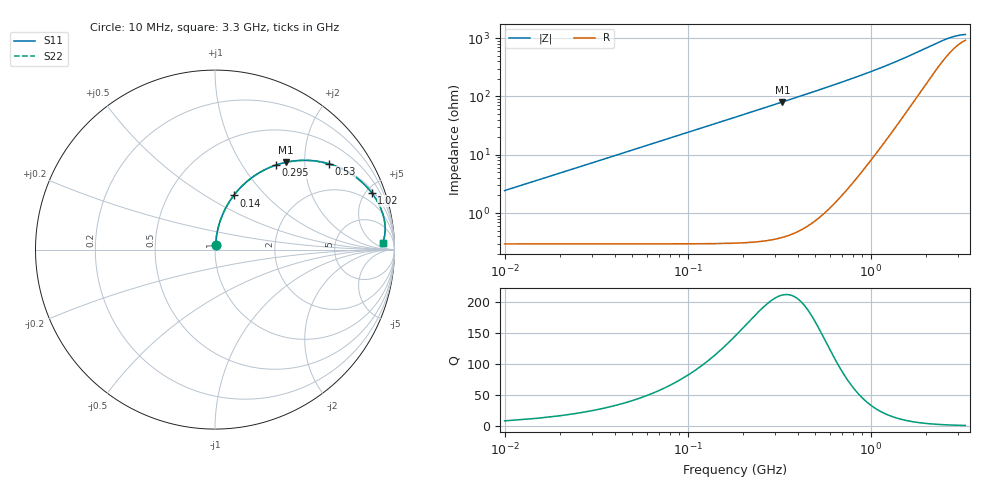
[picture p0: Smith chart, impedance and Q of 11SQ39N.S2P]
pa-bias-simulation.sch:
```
<Qucs Schematic 0.0.19>
<Properties>
  <View=-64,-76,2446,1506,0.711483,0,169>
  <Grid=10,10,1>
  <DataSet=pa-bias-simulation.dat>
  <DataDisplay=pa-bias-simulation.dpl>
  <OpenDisplay=1>
  <Script=pa-bias-simulation.m>
  <RunScript=0>
  <showFrame=0>
  <FrameText0=Title>
  <FrameText1=Drawn By:>
  <FrameText2=Date:>
  <FrameText3=Revision:>
</Properties>
<Symbol>
</Symbol>
<Components>
  <C C1 1 960 670 -26 -55 0 2 "12 pF" 1 "" 0 "neutral" 0>
  <C C4 1 1040 720 17 -26 0 1 "1.2 pF" 1 "" 0 "neutral" 0>
  <GND * 1 770 510 0 0 0 0>
  <GND * 1 1020 510 0 0 0 0>
  <Pac P3 1 1020 450 18 -26 0 1 "3" 1 "50 Ohm" 1 "0 dBm" 0 "1 GHz" 0 "26.85" 0>
  <C C9 1 890 450 17 -26 0 1 "100 uF" 1 "" 0 "neutral" 0>
  <GND * 1 890 590 0 0 0 0>
  <GND * 1 1040 870 0 0 0 0>
  <R R4 1 1040 810 15 -26 0 1 "5.5" 1 "26.85" 0 "0.0" 0 "0.0" 0 "26.85" 0 "US" 0>
  <C C2 1 690 720 17 -26 0 1 "2.2 pF" 1 "" 0 "neutral" 0>
  <C C3 1 800 720 17 -26 0 1 "1.8 pF" 1 "" 0 "neutral" 0>
  <GND * 1 690 870 0 0 0 0>
  <GND * 1 800 870 0 0 0 0>
  <R R2 1 690 810 15 -26 0 1 "3" 1 "26.85" 0 "0.0" 0 "0.0" 0 "26.85" 0 "US" 0>
  <R R3 1 800 810 15 -26 0 1 "3.7" 1 "26.85" 0 "0.0" 0 "0.0" 0 "26.85" 0 "US" 0>
  <R R9 1 870 670 -35 -48 0 0 "0.6" 1 "26.85" 0 "0.0" 0 "0.0" 0 "26.85" 0 "US" 0>
  <R R1 1 890 530 15 -26 0 1 "10 Ohm" 1 "26.85" 0 "0.0" 0 "0.0" 0 "26.85" 0 "US" 0>
  <R R11 1 960 400 -35 -48 0 0 "1000" 1 "26.85" 0 "0.0" 0 "0.0" 0 "26.85" 0 "US" 0>
  <GND * 1 1190 870 0 0 0 0>
  <Pac P2 1 1190 750 18 -26 0 1 "2" 1 "50 Ohm" 1 "0 dBm" 0 "1 GHz" 0 "26.85" 0>
  <SPfile L_11SQ39N 1 770 400 -40 -41 0 0 "/home/joao/pa-bias-simulation/11SQ39N.S2P" 0 "polar" 0 "linear" 0 "open" 0 "2" 0>
  <VCVS SRC3 1 350 700 -26 34 0 0 "1" 1 "0" 0>
  <R R16 1 440 670 -35 -48 0 0 "2.6" 1 "26.85" 0 "0.0" 0 "0.0" 0 "26.85" 0 "US" 0>
  <C C12 1 520 670 -26 -55 0 2 "26.5p" 1 "" 0 "neutral" 0>
  <GND * 1 410 870 0 0 0 0>
  <GND * 1 290 870 0 0 0 0>
  <GND * 1 110 870 0 0 0 0>
  <Pac P1 1 110 780 18 -26 0 1 "1" 1 "50" 1 "0 dBm" 0 "1 GHz" 0 "26.85" 0>
  <R R17 1 210 780 15 -26 0 1 "50" 1 "26.85" 0 "0.0" 0 "0.0" 0 "26.85" 0 "US" 0>
  <GND * 1 210 870 0 0 0 0>
  <C C5 1 920 1000 -26 -55 0 2 "12 pF" 1 "" 0 "neutral" 0>
  <C C8 1 1000 1050 17 -26 0 1 "1.2 pF" 1 "" 0 "neutral" 0>
  <GND * 1 1000 1200 0 0 0 0>
  <R R8 1 1000 1150 15 -26 0 1 "5.5" 1 "26.85" 0 "0.0" 0 "0.0" 0 "26.85" 0 "US" 0>
  <C C6 1 650 1050 17 -26 0 1 "2.2 pF" 1 "" 0 "neutral" 0>
  <C C7 1 760 1050 17 -2 0 1 "1.8 pF" 1 "" 0 "neutral" 0>
  <GND * 1 650 1200 0 0 0 0>
  <GND * 1 760 1200 0 0 0 0>
  <R R6 1 650 1140 15 -26 0 1 "3" 1 "26.85" 0 "0.0" 0 "0.0" 0 "26.85" 0 "US" 0>
  <R R7 1 760 1140 15 -26 0 1 "3.7" 1 "26.85" 0 "0.0" 0 "0.0" 0 "26.85" 0 "US" 0>
  <R R10 1 830 1000 -6 11 0 0 "0.6" 1 "26.85" 0 "0.0" 0 "0.0" 0 "26.85" 0 "US" 0>
  <GND * 1 1150 1200 0 0 0 0>
  <Pac P5 1 1150 1100 18 -26 0 1 "5" 1 "50 Ohm" 1 "0 dBm" 0 "1 GHz" 0 "26.85" 0>
  <VCVS SRC4 1 410 1030 -26 34 0 0 "1" 1 "0" 0>
  <R R18 1 500 1000 -35 -48 0 0 "2.6" 1 "26.85" 0 "0.0" 0 "0.0" 0 "26.85" 0 "US" 0>
  <C C13 1 580 1000 -26 -55 0 2 "26.5p" 1 "" 0 "neutral" 0>
  <GND * 1 470 1200 0 0 0 0>
  <GND * 1 350 1200 0 0 0 0>
  <GND * 1 170 1200 0 0 0 0>
  <R R19 1 270 1110 15 -26 0 1 "50" 1 "26.85" 0 "0.0" 0 "0.0" 0 "26.85" 0 "US" 0>
  <GND * 1 270 1200 0 0 0 0>
  <Pac P6 1 170 1110 18 -26 0 1 "4" 1 "50" 1 "0 dBm" 0 "1 GHz" 0 "26.85" 0>
  <.SP SP1 1 1450 590 0 66 0 0 "lin" 1 "1 MHz" 1 "10 GHz" 1 "5000" 1 "no" 0 "1" 0 "2" 0 "no" 0 "no" 0>
  <Eqn Gains 1 1740 620 -30 16 0 0 "Gain_S21db=20*log10(abs(S[2,1]))" 1 "Gain_S31db=20*log10(abs(S[3,1]))" 1 "Gain_S54db=20*log10(abs(S[5,4]))" 1 "yes" 0>
</Components>
<Wires>
  <990 670 1040 670 "" 0 0 0 "">
  <1040 670 1040 690 "" 0 0 0 "">
  <610 400 610 670 "" 0 0 0 "">
  <610 400 740 400 "" 0 0 0 "">
  <770 430 770 510 "" 0 0 0 "">
  <1020 480 1020 510 "" 0 0 0 "">
  <800 400 890 400 "" 0 0 0 "">
  <890 400 890 420 "" 0 0 0 "">
  <890 480 890 500 "" 0 0 0 "">
  <890 560 890 590 "" 0 0 0 "">
  <1040 750 1040 780 "" 0 0 0 "">
  <1040 840 1040 870 "" 0 0 0 "">
  <610 670 690 670 "" 0 0 0 "">
  <690 670 690 690 "" 0 0 0 "">
  <690 670 800 670 "" 0 0 0 "">
  <800 670 840 670 "" 0 0 0 "">
  <800 670 800 690 "" 0 0 0 "">
  <800 750 800 780 "" 0 0 0 "">
  <690 750 690 780 "" 0 0 0 "">
  <690 840 690 870 "" 0 0 0 "">
  <800 840 800 870 "" 0 0 0 "">
  <900 670 930 670 "" 0 0 0 "">
  <1020 400 1020 420 "" 0 0 0 "">
  <990 400 1020 400 "" 0 0 0 "">
  <890 400 930 400 "" 0 0 0 "">
  <1190 780 1190 870 "" 0 0 0 "">
  <1040 670 1190 670 "" 0 0 0 "">
  <1190 670 1190 720 "" 0 0 0 "">
  <380 670 410 670 "" 0 0 0 "">
  <470 670 490 670 "" 0 0 0 "">
  <380 730 410 730 "" 0 0 0 "">
  <410 730 410 870 "" 0 0 0 "">
  <290 730 320 730 "" 0 0 0 "">
  <290 730 290 870 "" 0 0 0 "">
  <550 670 610 670 "" 0 0 0 "">
  <110 810 110 870 "" 0 0 0 "">
  <110 670 110 750 "" 0 0 0 "">
  <110 670 210 670 "" 0 0 0 "">
  <210 670 320 670 "" 0 0 0 "">
  <210 670 210 750 "" 0 0 0 "">
  <210 810 210 870 "" 0 0 0 "">
  <950 1000 1000 1000 "" 0 0 0 "">
  <1000 1000 1000 1020 "" 0 0 0 "">
  <1000 1080 1000 1120 "" 0 0 0 "">
  <1000 1180 1000 1200 "" 0 0 0 "">
  <650 1000 650 1020 "" 0 0 0 "">
  <650 1000 760 1000 "" 0 0 0 "">
  <760 1000 800 1000 "" 0 0 0 "">
  <760 1000 760 1020 "" 0 0 0 "">
  <760 1080 760 1110 "" 0 0 0 "">
  <650 1080 650 1110 "" 0 0 0 "">
  <650 1170 650 1200 "" 0 0 0 "">
  <760 1170 760 1200 "" 0 0 0 "">
  <860 1000 890 1000 "" 0 0 0 "">
  <1150 1130 1150 1200 "" 0 0 0 "">
  <1000 1000 1150 1000 "" 0 0 0 "">
  <1150 1000 1150 1070 "" 0 0 0 "">
  <440 1000 470 1000 "" 0 0 0 "">
  <530 1000 550 1000 "" 0 0 0 "">
  <440 1060 470 1060 "" 0 0 0 "">
  <470 1060 470 1200 "" 0 0 0 "">
  <350 1060 380 1060 "" 0 0 0 "">
  <350 1060 350 1200 "" 0 0 0 "">
  <610 1000 650 1000 "" 0 0 0 "">
  <170 1140 170 1200 "" 0 0 0 "">
  <170 1000 170 1080 "" 0 0 0 "">
  <170 1000 270 1000 "" 0 0 0 "">
  <270 1000 380 1000 "" 0 0 0 "">
  <270 1000 270 1080 "" 0 0 0 "">
  <270 1140 270 1200 "" 0 0 0 "">
</Wires>
<Diagrams>
  <Rect 1389 1224 692 405 3 #c0c0c0 1 00 1 0 1e+09 1e+10 1 -120 20 7.18475 1 -1 0.2 1 315 0 225 "" "" "">
	<"Gain_S21db" #0000ff 0 3 0 0 0>
	  <Mkr 2.38924e+09 225 -385 3 0 0>
	<"Gain_S31db" #ff0000 0 3 0 0 0>
	  <Mkr 2.40324e+09 406 -202 3 0 0>
	<"Gain_S54db" #ff00ff 0 3 0 0 0>
  </Rect>
</Diagrams>
<Paintings>
  <Text 450 920 12 #000000 0 "2.6-j2.5 at 2400 MHz">
  <Text 390 590 12 #000000 0 "2.6-j2.5 at 2400 MHz">
</Paintings>
```
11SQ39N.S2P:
! Coilcraft 1111SQ-39N Air Core Inductor
! 14 MAR 2012
# MHZ S MA R 50
!Freq  MagS11  AngS11  MagS21  AngS21  MagS12  AngS12  MagS22  AngS22
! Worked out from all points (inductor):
!   659 points, 10 MHz to 3.3 GHz, reference 50 ohm
!   read as one part in series: L = 38.4 nH near 25 MHz
!   highest Q = 211 at 330 MHz (marker M1), where L = 38.8 nH
!   S11 on the Smith chart (normalised r, x): 10 MHz: 1.01, +0.05; 140 MHz: 1.01, +0.68; 295 MHz: 1.01, +1.43; 530 MHz: 1.02, +2.63; 1.02 GHz: 1.18, +5.46; 3.3 GHz: 21, +13
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10  0.02419 81.6  0.9968 -1.4  0.9968 -1.4  0.02419 81.6
35  0.08382 83.2  0.9936 -4.8  0.9936 -4.8  0.08382 83.2
60  0.1427 80.6  0.9869 -8.2  0.9869 -8.2  0.1427 80.6
140  0.3193 70.9  0.9449 -18.6  0.9449 -18.6  0.3193 70.9
295  0.5812 54.1  0.8109 -35.6  0.8109 -35.6  0.5812 54.1
330  0.6249 51.0  0.7777 -38.7  0.7777 -38.7  0.6249 51.0
530  0.7929 37.1  0.6042 -52.5  0.6042 -52.5  0.7929 37.1
1020  0.9289 19.9  0.3421 -68.3  0.3421 -68.3  0.9289 19.9
1655  0.9573 10.5  0.188 -71.8  0.188 -71.8  0.9573 10.5
2535  0.9487 4.8  0.101 -57.3  0.101 -57.3  0.9487 4.8
3300  0.9345 2.4  0.08077 -34.9  0.08077 -34.9  0.9345 2.4
